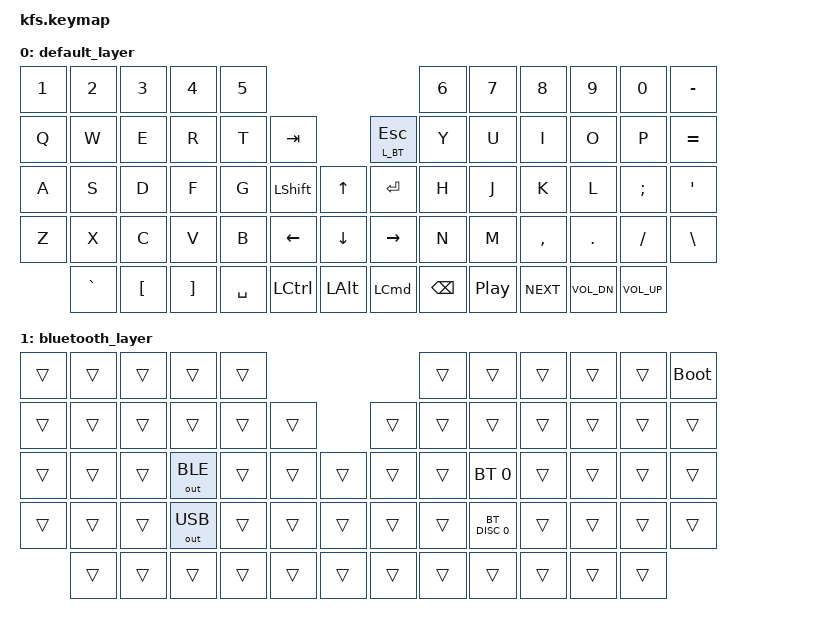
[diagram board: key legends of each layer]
#include <behaviors.dtsi>
#include <dt-bindings/zmk/keys.h>
#include <dt-bindings/zmk/bt.h>
#include <dt-bindings/zmk/outputs.h>

#define L_DEFAULT 0
#define L_BT      1

&lt {
  tapping-term-ms = <150>;
};

/ {

  //----------------------------------------------------------------------------
  // Keymap
  //----------------------------------------------------------------------------

  keymap {
    compatible = "zmk,keymap";

    default_layer {
      bindings = <
        &kp N1 &kp N2    &kp N3   &kp N4   &kp N5                                       &kp N6   &kp N7   &kp N8     &kp N9       &kp N0       &kp MINUS
        &kp Q  &kp W     &kp E    &kp R    &kp T     &kp TAB             &lt L_BT ESC   &kp Y    &kp U    &kp I      &kp O        &kp P        &kp EQUAL
        &kp A  &kp S     &kp D    &kp F    &kp G     &kp LSHIFT &kp UP   &kp ENTER      &kp H    &kp J    &kp K      &kp L        &kp SEMI     &kp SQT
        &kp Z  &kp X     &kp C    &kp V    &kp B     &kp LEFT   &kp DOWN &kp RIGHT      &kp N    &kp M    &kp COMMA  &kp DOT      &kp FSLH     &kp BSLH
               &kp GRAVE &kp LBKT &kp RBKT &kp SPACE &kp LCTRL  &kp LALT &kp LCMD       &kp BSPC &kp C_PP &kp C_NEXT &kp K_VOL_DN &kp K_VOL_UP
      >;
    };

    bluetooth_layer {
      bindings = <
        &trans &trans &trans &trans       &trans                      &trans &trans        &trans &trans &trans &bootloader
        &trans &trans &trans &trans       &trans &trans        &trans &trans &trans        &trans &trans &trans &trans
        &trans &trans &trans &out OUT_BLE &trans &trans &trans &trans &trans &bt BT_SEL 0  &trans &trans &trans &trans
        &trans &trans &trans &out OUT_USB &trans &trans &trans &trans &trans &bt BT_DISC 0 &trans &trans &trans &trans
               &trans &trans &trans       &trans &trans &trans &trans &trans &trans        &trans &trans &trans
      >;
    };
  };
};
